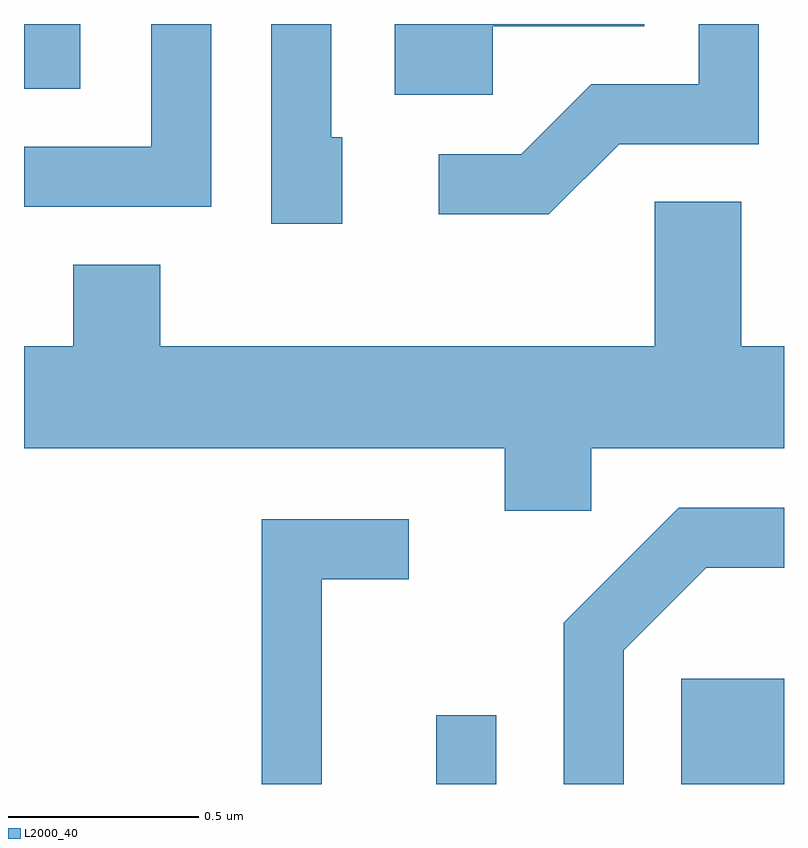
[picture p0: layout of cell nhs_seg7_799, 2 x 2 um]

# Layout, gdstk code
import gdstk
lib = gdstk.Library(unit=1e-6, precision=1e-09)
def R(c, l, rs):  # rectangles x0, y0, x1, y1
    for r in rs: c.add(gdstk.rectangle(r[:2], r[2:], *l))
def P(c, l, *ps):  # polygons
    for p in ps: c.add(gdstk.Polygon(p, *l))
L2000_40 = (2000, 40)

nhs_seg7_799 = lib.new_cell('nhs_seg7_799')
R(nhs_seg7_799, L2000_40, [(191.696,1782.252,191.854,1782.433), (192.341,1782.252,192.611,1782.529), (190.611,1784.081,190.759,1784.252)])
P(nhs_seg7_799, L2000_40, [(191.104,1784.252),(190.946,1784.252),(190.946,1783.929),(190.611,1783.929),(190.611,1783.771),(191.104,1783.771)],
  [(192.177,1783.936),(192.544,1783.936),(192.544,1784.252),(192.386,1784.252),(192.386,1784.094),(192.104,1784.094),(191.919,1783.909),(191.703,1783.909),(191.703,1783.751),(191.992,1783.751)],
  [(191.449,1783.954),(191.419,1783.954),(191.419,1784.252),(191.261,1784.252),(191.261,1783.726),(191.449,1783.726)],
  [(191.844,1784.246),(192.243,1784.246),(192.243,1784.252),(191.586,1784.252),(191.586,1784.066),(191.844,1784.066)],
  [(192.104,1783.136),(192.611,1783.136),(192.611,1783.404),(192.499,1783.404),(192.499,1783.784),(192.271,1783.784),(192.271,1783.404),(190.969,1783.404),(190.969,1783.619),(190.741,1783.619),(190.741,1783.404),(190.611,1783.404),(190.611,1783.136),(191.876,1783.136),(191.876,1782.971),(192.104,1782.971)],
  [(192.189,1782.604),(192.407,1782.821),(192.611,1782.821),(192.611,1782.979),(192.334,1782.979),(192.031,1782.677),(192.031,1782.252),(192.189,1782.252)],
  [(191.394,1782.791),(191.623,1782.791),(191.623,1782.949),(191.236,1782.949),(191.236,1782.252),(191.394,1782.252)])

lib.write_gds('nhs_seg7_799.gds')
